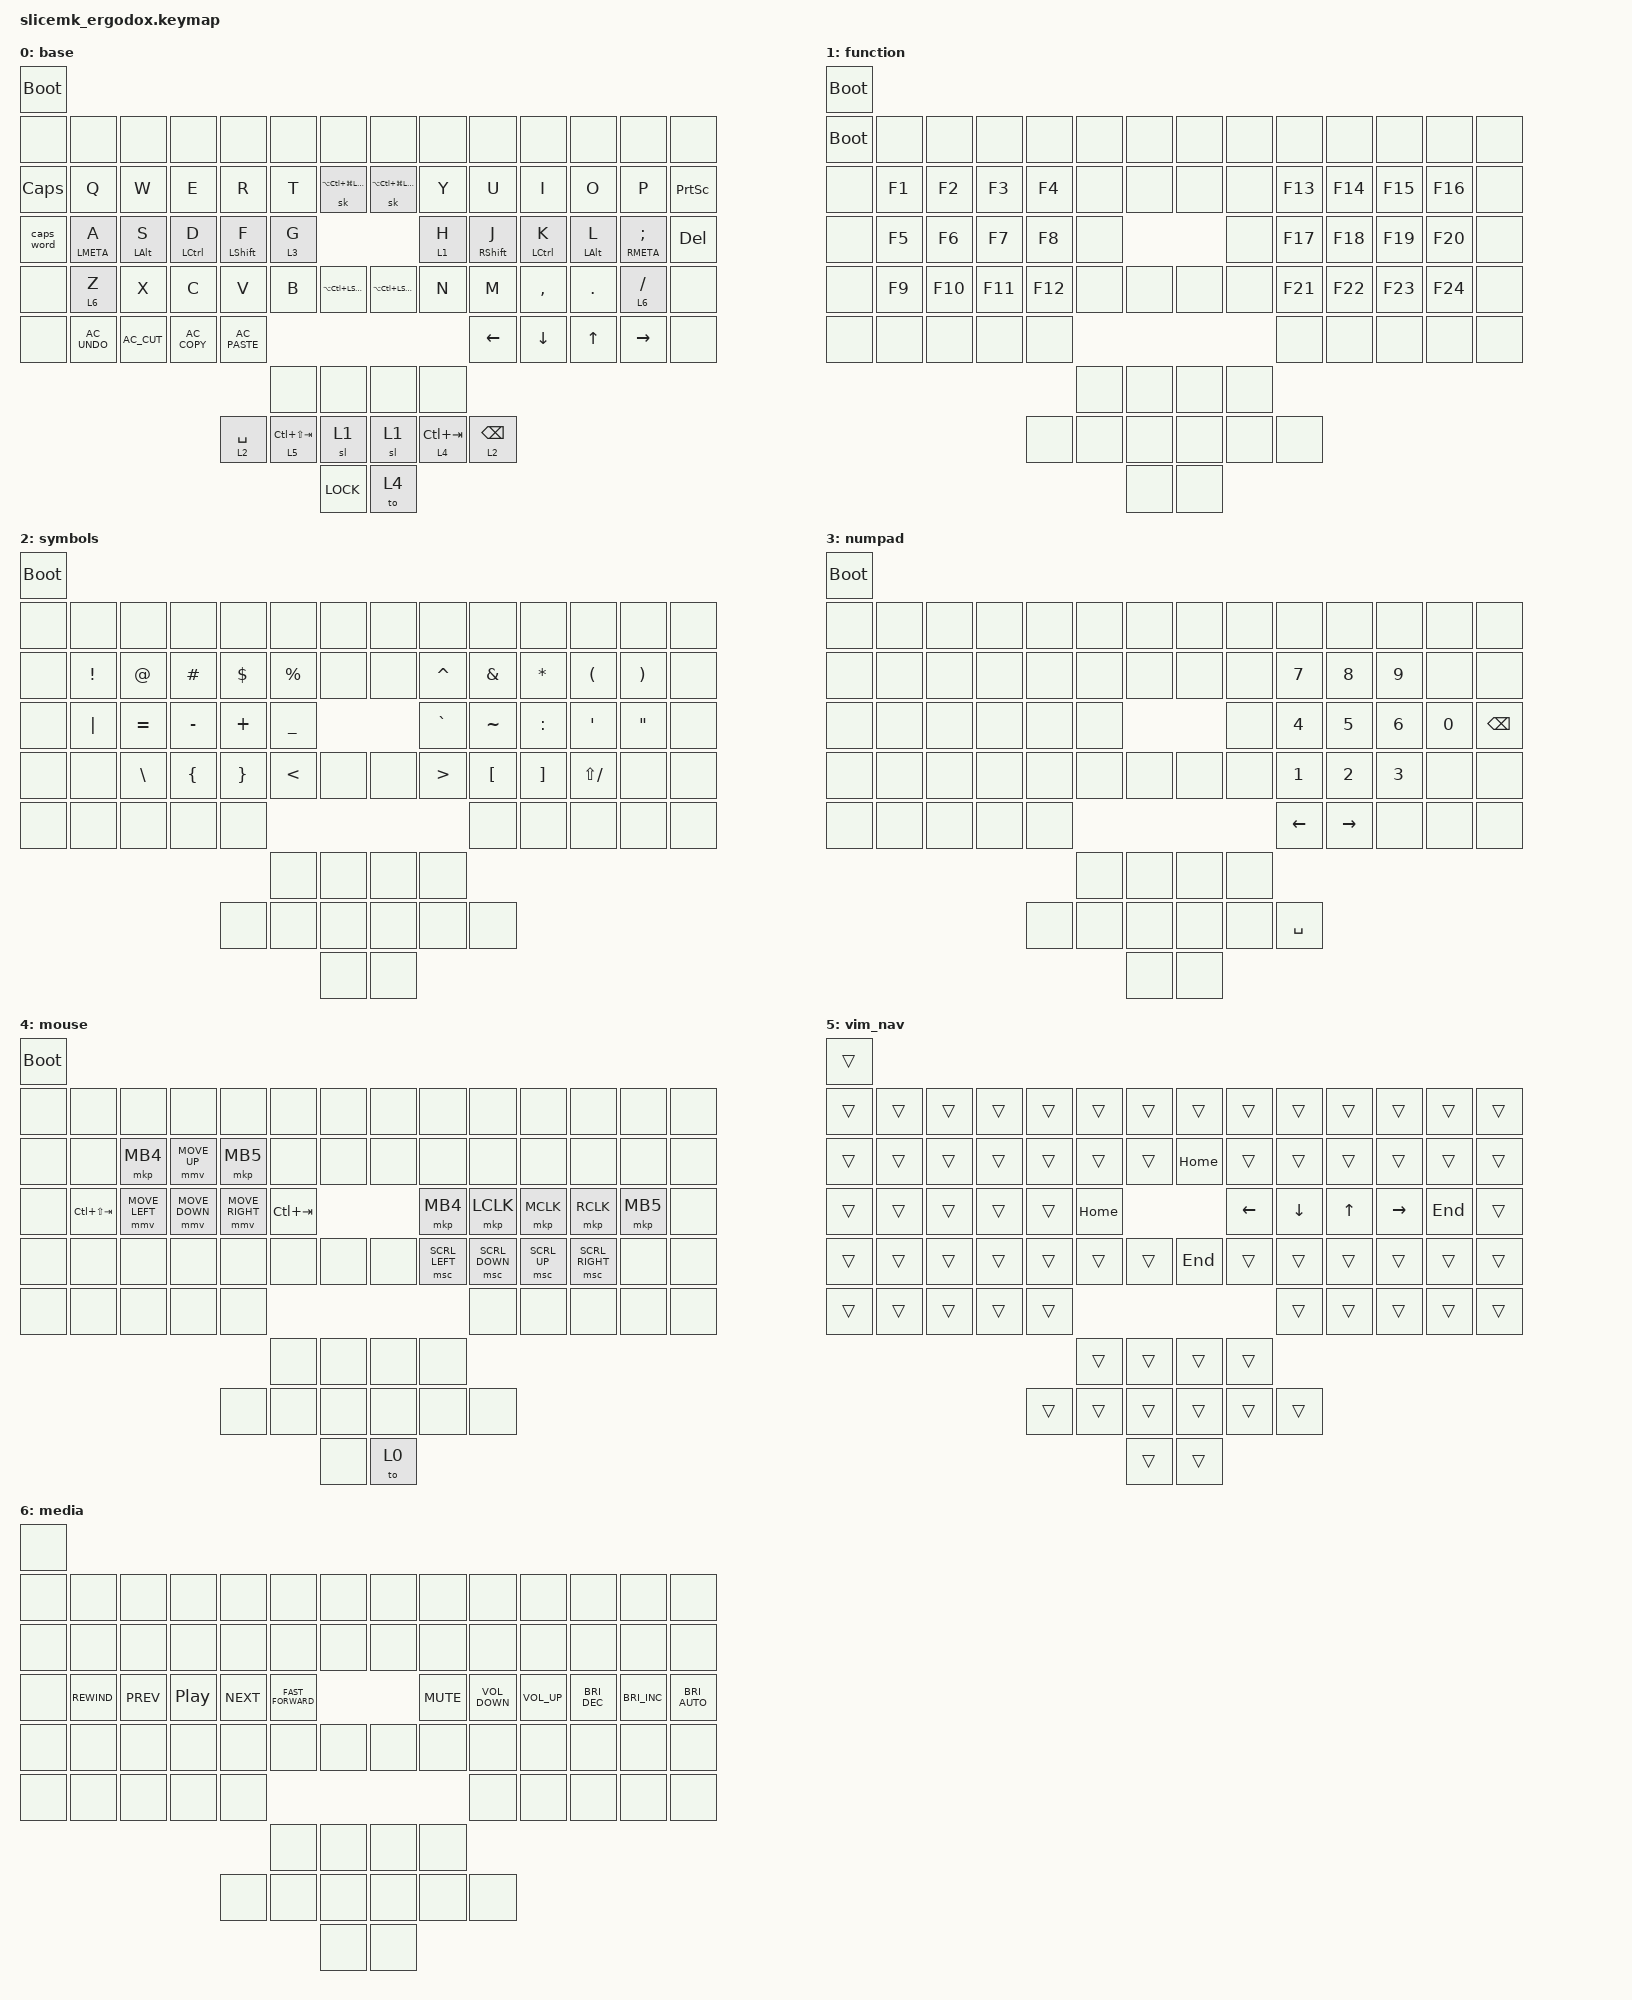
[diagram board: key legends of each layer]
#include <dt-bindings/zmk/mouse.h>
#include <behaviors.dtsi>
#include <dt-bindings/zmk/keys.h>
#include <dt-bindings/zmk/pointing.h>

#define LAYER_MAIN 0
#define LAYER_FN 1
#define LAYER_SYMB 2
#define LAYER_NMPAD 3
#define LAYER_MOUSE 4

/ {
    combos {
        compatible = "zmk,combos";

        ret {
            bindings = <&kp ENTER>;
            key-positions = <31 32>;
        };

        tab {
            bindings = <&kp TAB>;
            key-positions = <32 33>;
        };

        escape {
            bindings = <&kp ESCAPE>;
            key-positions = <36 37>;
        };

        bspc {
            bindings = <&kp BSPC>;
            key-positions = <38 37>;
        };

        swap_to_mac {
            bindings = <&to 0>;
            key-positions = <42 43 44 45>;
        };

        swap_to_base {
            bindings = <&to 0>;
            key-positions = <50 51 52 53>;
        };
    };

    behaviors {
        balanced_mod_tap: balanced_mod_tap {
            compatible = "zmk,behavior-hold-tap";
            label = "BALANCED_MOD_TAP";
            bindings = <&kp>, <&kp>;

            #binding-cells = <2>;
            flavor = "tap-preferred";
            tapping-term-ms = <200>;
            hold-while-undecided-linger;
            quick-tap-ms = <200>;
        };

        tap_layer: tap_layer {
            compatible = "zmk,behavior-hold-tap";
            label = "TAP_LAYER";
            bindings = <&mo>, <&kp>;

            #binding-cells = <2>;
            tapping-term-ms = <200>;
            quick-tap-ms = <200>;
            flavor = "tap-preferred";
        };
    };

    keymap {
        compatible = "zmk,keymap";

        base {
            bindings = <
&bootloader
&none        &none                      &none                         &none                      &none                           &none                     &none                         &none                       &none                 &none                            &none                      &none                         &none                              &none
&kp CAPS     &kp Q                      &kp W                         &kp E                      &kp R                           &kp T                     &sk LA(LC(LG(LEFT_SHIFT)))    &sk LA(LC(LG(LEFT_SHIFT)))  &kp Y                 &kp U                            &kp I                      &kp O                         &kp P                              &kp PRINTSCREEN
&caps_word   &balanced_mod_tap LMETA A  &balanced_mod_tap LEFT_ALT S  &balanced_mod_tap LCTRL D  &balanced_mod_tap LEFT_SHIFT F  &tap_layer 3 G                                                                      &tap_layer 1 H        &balanced_mod_tap RIGHT_SHIFT J  &balanced_mod_tap LCTRL K  &balanced_mod_tap LEFT_ALT L  &balanced_mod_tap RMETA SEMICOLON  &kp DELETE
&none        &tap_layer 6 Z             &kp X                         &kp C                      &kp V                           &kp B                     &kp LA(LC(LEFT_SHIFT))        &kp LA(LC(LEFT_SHIFT))      &kp N                 &kp M                            &kp COMMA                  &kp PERIOD                    &tap_layer 6 SLASH                 &none
&none        &kp C_AC_UNDO              &kp C_AC_CUT                  &kp C_AC_COPY              &kp C_AC_PASTE                                                                                                                            &kp LEFT                         &kp DOWN                   &kp UP_ARROW                  &kp RIGHT                          &none
                                                                                                                                 &none                     &none                         &none                       &none
                                                                                                 &tap_layer 2 SPACE              &tap_layer 5 LC(LS(TAB))  &sl 1                         &sl 1                       &tap_layer 4 LC(TAB)  &tap_layer 2 BACKSPACE
                                                                                                                                                           &kp K_LOCK                    &to 4
            >;
        };

        function {
            bindings = <
&bootloader
&bootloader  &none   &none    &none    &none    &none  &none    &none  &none  &none    &none    &none    &none    &none
&none        &kp F1  &kp F2   &kp F3   &kp F4   &none  &none    &none  &none  &kp F13  &kp F14  &kp F15  &kp F16  &none
&none        &kp F5  &kp F6   &kp F7   &kp F8   &none                  &none  &kp F17  &kp F18  &kp F19  &kp F20  &none
&none        &kp F9  &kp F10  &kp F11  &kp F12  &none  &none    &none  &none  &kp F21  &kp F22  &kp F23  &kp F24  &none
&none        &none   &none    &none    &none                                  &none    &none    &none    &none    &none
                                                &none  &none    &none  &none
                                       &none    &none  &none    &none  &none  &none
                                                       &none    &none
            >;
        };

        symbols {
            bindings = <
&bootloader
&none        &none            &none          &none           &none            &none          &none    &none  &none             &none             &none              &none                 &none                  &none
&none        &kp EXCLAMATION  &kp AT_SIGN    &kp HASH        &kp DOLLAR       &kp PERCENT    &none    &none  &kp CARET         &kp AMPERSAND     &kp ASTERISK       &kp LEFT_PARENTHESIS  &kp RIGHT_PARENTHESIS  &none
&none        &kp PIPE         &kp EQUAL      &kp MINUS       &kp PLUS         &kp UNDER                      &kp GRAVE         &kp TILDE         &kp COLON          &kp APOS              &kp DOUBLE_QUOTES      &none
&none        &none            &kp BACKSLASH  &kp LEFT_BRACE  &kp RIGHT_BRACE  &kp LESS_THAN  &none    &none  &kp GREATER_THAN  &kp LEFT_BRACKET  &kp RIGHT_BRACKET  &kp LS(SLASH)         &none                  &none
&none        &none            &none          &none           &none                                                             &none             &none              &none                 &none                  &none
                                                                              &none          &none    &none  &none
                                                             &none            &none          &none    &none  &none             &none
                                                                                             &none    &none
            >;
        };

        numpad {
            bindings = <
&bootloader
&none        &none  &none  &none  &none  &none  &none    &none  &none  &none         &none         &none         &none         &none
&none        &none  &none  &none  &none  &none  &none    &none  &none  &kp NUMBER_7  &kp NUMBER_8  &kp NUMBER_9  &none         &none
&none        &none  &none  &none  &none  &none                  &none  &kp NUMBER_4  &kp NUMBER_5  &kp NUMBER_6  &kp NUMBER_0  &kp BACKSPACE
&none        &none  &none  &none  &none  &none  &none    &none  &none  &kp NUMBER_1  &kp NUMBER_2  &kp NUMBER_3  &none         &none
&none        &none  &none  &none  &none                                &kp LEFT      &kp RIGHT     &none         &none         &none
                                         &none  &none    &none  &none
                                  &none  &none  &none    &none  &none  &kp SPACE
                                                &none    &none
            >;
        };

        mouse {
            bindings = <
&bootloader
&none        &none            &none           &none           &none            &none        &none    &none  &none           &none           &none         &none            &none     &none
&none        &none            &mkp MB4        &mmv MOVE_UP    &mkp MB5         &none        &none    &none  &none           &none           &none         &none            &none     &none
&none        &kp LC(LS(TAB))  &mmv MOVE_LEFT  &mmv MOVE_DOWN  &mmv MOVE_RIGHT  &kp LC(TAB)                  &mkp MB4        &mkp LCLK       &mkp MCLK     &mkp RCLK        &mkp MB5  &none
&none        &none            &none           &none           &none            &none        &none    &none  &msc SCRL_LEFT  &msc SCRL_DOWN  &msc SCRL_UP  &msc SCRL_RIGHT  &none     &none
&none        &none            &none           &none           &none                                                         &none           &none         &none            &none     &none
                                                                               &none        &none    &none  &none
                                                              &none            &none        &none    &none  &none           &none
                                                                                            &none    &to 0
            >;
        };

        vim_nav {
            bindings = <
&trans
&trans  &trans  &trans  &trans  &trans  &trans    &trans    &trans    &trans    &trans    &trans        &trans     &trans   &trans
&trans  &trans  &trans  &trans  &trans  &trans    &trans    &kp HOME  &trans    &trans    &trans        &trans     &trans   &trans
&trans  &trans  &trans  &trans  &trans  &kp HOME                      &kp LEFT  &kp DOWN  &kp UP_ARROW  &kp RIGHT  &kp END  &trans
&trans  &trans  &trans  &trans  &trans  &trans    &trans    &kp END   &trans    &trans    &trans        &trans     &trans   &trans
&trans  &trans  &trans  &trans  &trans                                          &trans    &trans        &trans     &trans   &trans
                                        &trans    &trans    &trans    &trans
                                &trans  &trans    &trans    &trans    &trans    &trans
                                                  &trans    &trans
            >;
        };

        media {
            bindings = <
&none
&none  &none         &none       &none             &none       &none               &none    &none  &none       &none              &none            &none                 &none                 &none
&none  &none         &none       &none             &none       &none               &none    &none  &none       &none              &none            &none                 &none                 &none
&none  &kp C_REWIND  &kp C_PREV  &kp C_PLAY_PAUSE  &kp C_NEXT  &kp C_FAST_FORWARD                  &kp K_MUTE  &kp C_VOLUME_DOWN  &kp C_VOLUME_UP  &kp C_BRIGHTNESS_DEC  &kp C_BRIGHTNESS_INC  &kp C_BRIGHTNESS_AUTO
&none  &none         &none       &none             &none       &none               &none    &none  &none       &none              &none            &none                 &none                 &none
&none  &none         &none       &none             &none                                                       &none              &none            &none                 &none                 &none
                                                               &none               &none    &none  &none
                                                   &none       &none               &none    &none  &none       &none
                                                                                   &none    &none
            >;
        };
    };
};
